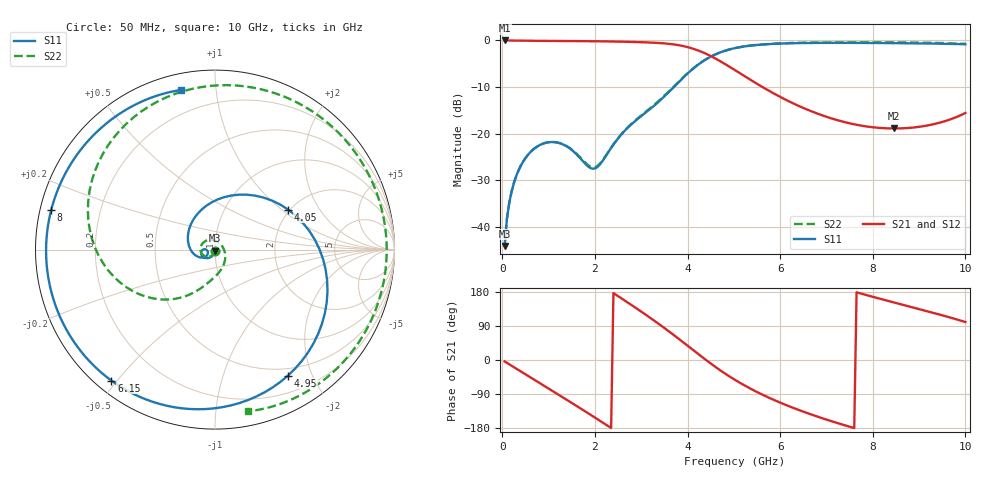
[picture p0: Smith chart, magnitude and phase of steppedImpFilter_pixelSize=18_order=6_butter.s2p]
! freq	dB(S11)	phase(S11)	dB(S12)	phase(S12)
!  dB(S21)	phase(S21)	dB(S22)	phase(S22)
!S-par simulation data
#  GHz  S  DB  R 50
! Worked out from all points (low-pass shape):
!   200 points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, 50 MHz to 10 GHz, reference 50 ohm
!   highest |S21| = -0.01 dB at 50 MHz (marker M1); lowest = -18.9 dB at 8.45 GHz (marker M2)
!   |S21| within 3 dB of the highest: start of sweep to 4.429 GHz
!   lowest |S11| = -44.1 dB at 50 MHz (marker M3), VSWR 1.01, Z = 50 - j0.62 ohm
!   |S11| at or under -10 dB: start of sweep to 3.704 GHz
!   |S22| runs from -44.2 to -0.4 dB; largest |S21 - S12| = 0
!   S11 on the Smith chart (normalised r, x): 50 MHz: 1.00, -0.01; 4.05 GHz: 1.96, +1.11; 4.95 GHz: 0.41, -1.66; 6.15 GHz: 0.04, -0.48; 8 GHz: 0.03, +0.12; 10 GHz: 0.08, +0.81
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0.05  -44.15 -91.4  -0.01 -3.8  -0.01 -3.8  -44.18 -92.6
0.15  -34.88 -99.4  -0.02 -11.4  -0.02 -11.4  -34.91 -101.9
0.25  -30.63 -106.9  -0.03 -18.9  -0.03 -18.9  -30.65 -111.3
0.6  -24.06 -130.8  -0.07 -45.3  -0.07 -45.3  -24.04 -142.0
1.2  -21.97 -167.2  -0.12 -90.4  -0.12 -90.4  -21.93 163.6
1.75  -26.03 179.8  -0.15 -132.4  -0.15 -132.4  -25.81 92.5
2.05  -27.22 -155.0  -0.18 -155.8  -0.18 -155.8  -26.97 22.1
2.55  -20.44 -153.1  -0.26 164.6  -0.26 164.6  -20.37 -59.4
3  -16.25 165.5  -0.38 127.7  -0.38 127.7  -16.11 -92.1
3.4  -12.96 114.2  -0.56 93.4  -0.56 93.4  -12.78 -110.2
3.7  -10.04 73.2  -0.85 66.2  -0.85 66.2  -9.91 -124.2
4.05  -6.66 28.7  -1.57 33.0  -1.57 33.0  -6.60 -146.1
4.5  -3.49 -20.6  -3.35 -9.2  -3.35 -9.2  -3.48 178.8
4.95  -1.82 -59.9  -5.92 -46.8  -5.92 -46.8  -1.82 143.2
5.05  -1.59 -67.3  -6.54 -54.3  -6.54 -54.3  -1.60 135.7
5.6  -0.88 -101.8  -9.90 -90.5  -9.90 -90.5  -0.87 98.1
6.15  -0.63 -128.3  -12.88 -120.0  -12.88 -120.0  -0.58 65.8
6.7  -0.54 -150.2  -15.32 -145.0  -15.32 -145.0  -0.45 37.8
8  -0.55 166.4  -18.65 166.7  -18.65 166.7  -0.39 -15.6
8.35  -0.57 155.6  -18.89 155.3  -18.89 155.3  -0.41 -27.8
8.45  -0.58 152.5  -18.91 152.1  -18.91 152.1  -0.41 -31.1
10  -0.83 101.9  -15.58 100.2  -15.58 100.2  -0.73 -78.5
